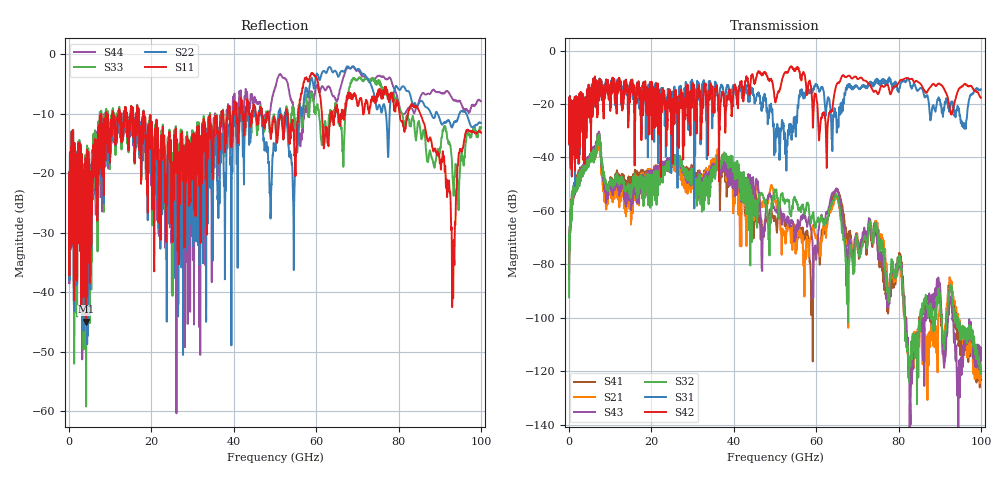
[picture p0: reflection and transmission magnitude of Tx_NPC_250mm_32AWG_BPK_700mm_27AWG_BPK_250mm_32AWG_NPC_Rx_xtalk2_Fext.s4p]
! Info: Touchstone file created by Circ.  Input file=Tx_NPC_250mm_32AWG_BPK_700mm_27AWG_BPK_250mm_32AWG_NPC_Rx.circ
# Hz S RI R 50
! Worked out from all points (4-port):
!   10000 points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, 10 MHz to 100 GHz, reference 50 ohm
!   strongest paths, dB at 10 MHz, 25.01 GHz, 50.01 GHz, 75.01 GHz, 100 GHz:
!     S42: -28.4, -18.5, -18.4, -16.3, -17.6
!     S31: -28.4, -23.4, -35.5, -10.9, -14.4
!     S32: -92.4, -40.4, -52.7, -70.1, -121.0
!     S43: -79.0, -39.8, -59.7, -75.5, -116.0
!     S21: -78.8, -41.6, -56.2, -68.3, -122.8
!     S41: -85.6, -41.6, -62.1, -75.5, -123.3
!   lowest |S11| = -45.0 dB at 4.14 GHz (marker M1), VSWR 1.01, Z = 50.1 + j0.562 ohm
!   |S11| at or under -10 dB: start of sweep to 8.925 GHz; 18.17 GHz to 37.03 GHz (18.86 GHz wide, 68.3 % of centre); 85.24 GHz to end of sweep (the widest 3 of 54)
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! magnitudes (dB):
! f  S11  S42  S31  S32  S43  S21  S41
! 10 MHz  -24.0  -28.4  -28.4  -92.4  -79.0  -78.8  -85.6
! 4.14 GHz  -45.0  -23.2  -22.7  -41.8  -40.9  -41.9  -41.2
! 59.19 GHz  -3.3  -28.6  -14.7  -60.9  -74.8  -65.7  -105.5
! 65.01 GHz  -8.6  -12.4  -30.7  -54.7  -52.3  -55.3  -52.2
! 67.58 GHz  -7.6  -9.6  -13.1  -84.6  -75.0  -80.0  -68.9
! 93.25 GHz  -39.4  -21.8  -21.0  -94.6  -101.1  -91.5  -94.8
! 100 GHz  -13.2  -17.6  -14.4  -121.0  -116.0  -122.8  -123.3
